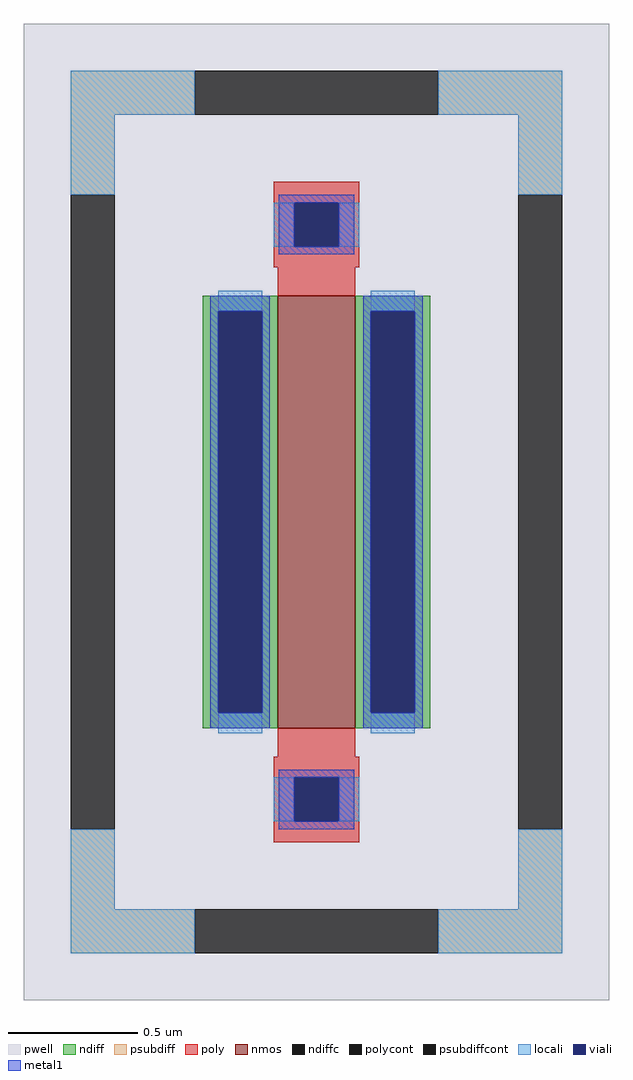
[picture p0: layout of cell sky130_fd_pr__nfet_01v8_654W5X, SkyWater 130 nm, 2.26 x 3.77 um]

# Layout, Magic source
magic
tech sky130A
magscale 1 2
<< pwell >>
rect -226 -377 226 377
<< nmos >>
rect -30 -167 30 167
<< ndiff >>
rect -88 155 -30 167
rect -88 -155 -76 155
rect -42 -155 -30 155
rect -88 -167 -30 -155
rect 30 155 88 167
rect 30 -155 42 155
rect 76 -155 88 155
rect 30 -167 88 -155
<< ndiffc >>
rect -76 -155 -42 155
rect 42 -155 76 155
<< psubdiff >>
rect -190 307 -94 341
rect 94 307 190 341
rect -190 245 -156 307
rect 156 245 190 307
rect -190 -307 -156 -245
rect 156 -307 190 -245
rect -190 -341 -94 -307
rect 94 -341 190 -307
<< psubdiffcont >>
rect -94 307 94 341
rect -190 -245 -156 245
rect 156 -245 190 245
rect -94 -341 94 -307
<< poly >>
rect -33 239 33 255
rect -33 205 -17 239
rect 17 205 33 239
rect -33 189 33 205
rect -30 167 30 189
rect -30 -189 30 -167
rect -33 -205 33 -189
rect -33 -239 -17 -205
rect 17 -239 33 -205
rect -33 -255 33 -239
<< polycont >>
rect -17 205 17 239
rect -17 -239 17 -205
<< locali >>
rect -190 307 -94 341
rect 94 307 190 341
rect -190 245 -156 307
rect 156 245 190 307
rect -33 205 -17 239
rect 17 205 33 239
rect -76 155 -42 171
rect -76 -171 -42 -155
rect 42 155 76 171
rect 42 -171 76 -155
rect -33 -239 -17 -205
rect 17 -239 33 -205
rect -190 -307 -156 -245
rect 156 -307 190 -245
rect -190 -341 -94 -307
rect 94 -341 190 -307
<< viali >>
rect -17 205 17 239
rect -76 -155 -42 155
rect 42 -155 76 155
rect -17 -239 17 -205
<< metal1 >>
rect -29 239 29 245
rect -29 205 -17 239
rect 17 205 29 239
rect -29 199 29 205
rect -82 155 -36 167
rect -82 -155 -76 155
rect -42 -155 -36 155
rect -82 -167 -36 -155
rect 36 155 82 167
rect 36 -155 42 155
rect 76 -155 82 155
rect 36 -167 82 -155
rect -29 -205 29 -199
rect -29 -239 -17 -205
rect 17 -239 29 -205
rect -29 -245 29 -239
<< properties >>
string FIXED_BBOX -173 -324 173 324
string gencell sky130_fd_pr__nfet_01v8
string library sky130
string parameters w 1.67 l 0.3 m 1 nf 1 diffcov 100 polycov 100 guard 1 glc 1 grc 1 gtc 1 gbc 1 tbcov 100 rlcov 100 topc 1 botc 1 poverlap 0 doverlap 1 lmin 0.15 wmin 0.42 compatible {sky130_fd_pr__nfet_01v8 sky130_fd_pr__nfet_01v8_lvt  sky130_fd_bs_flash__special_sonosfet_star  sky130_fd_pr__nfet_g5v0d10v5 sky130_fd_pr__nfet_05v0_nvt  sky130_fd_pr__nfet_03v3_nvt} full_metal 1 viasrc 100 viadrn 100 viagate 100 viagb 0 viagr 0 viagl 0 viagt 0
<< end >>
